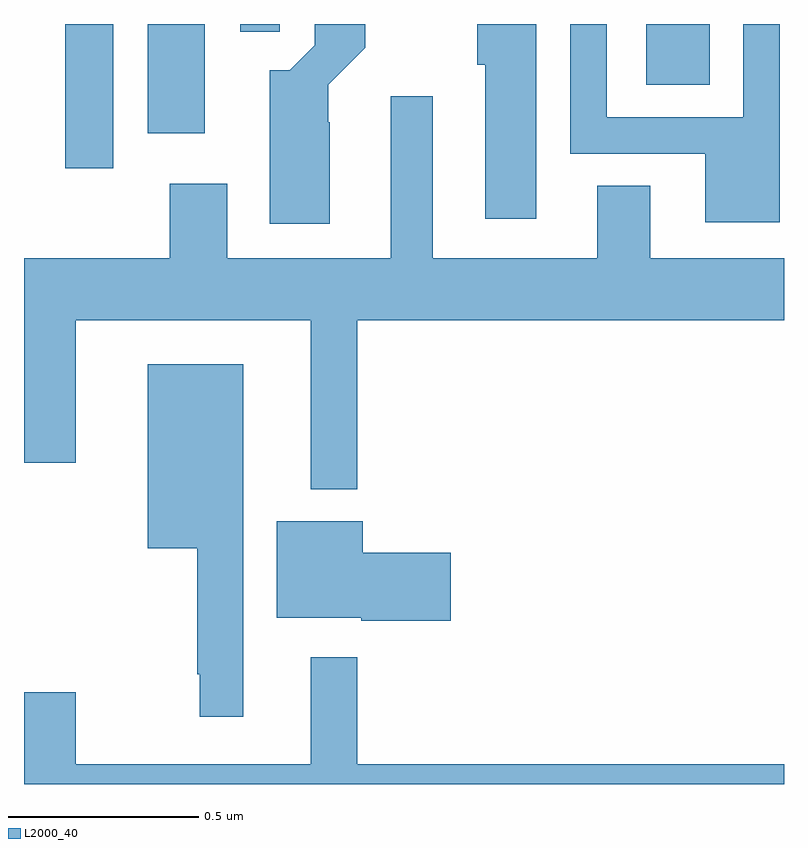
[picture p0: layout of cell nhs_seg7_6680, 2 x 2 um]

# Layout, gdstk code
import gdstk
lib = gdstk.Library(unit=1e-6, precision=1e-09)
def R(c, l, rs):  # rectangles x0, y0, x1, y1
    for r in rs: c.add(gdstk.rectangle(r[:2], r[2:], *l))
def P(c, l, *ps):  # polygons
    for p in ps: c.add(gdstk.Polygon(p, *l))
L2000_40 = (2000, 40)

nhs_seg7_6680 = lib.new_cell('nhs_seg7_6680')
R(nhs_seg7_6680, L2000_40, [(201.109,1063.62,201.235,1064), (201.326,1063.713,201.475,1064), (202.637,1063.84,202.804,1064), (201.569,1063.98,201.673,1064)])
P(nhs_seg7_6680, L2000_40, [(202.348,1064),(202.193,1064),(202.193,1063.893),(202.214,1063.893),(202.214,1063.488),(202.348,1063.488)],
  [(202.989,1064),(202.893,1064),(202.893,1063.755),(202.533,1063.755),(202.533,1064),(202.437,1064),(202.437,1063.659),(202.793,1063.659),(202.793,1063.478),(202.989,1063.478)],
  [(201.805,1063.742),(201.801,1063.742),(201.801,1063.84),(201.898,1063.937),(201.898,1064),(201.765,1064),(201.765,1063.944),(201.699,1063.878),(201.647,1063.878),(201.647,1063.475),(201.805,1063.475)],
  [(201.877,1063.22),(203,1063.22),(203,1063.384),(202.648,1063.384),(202.648,1063.574),(202.508,1063.574),(202.508,1063.384),(202.075,1063.384),(202.075,1063.81),(201.965,1063.81),(201.965,1063.384),(201.535,1063.384),(201.535,1063.579),(201.383,1063.579),(201.383,1063.384),(201,1063.384),(201,1062.846),(201.136,1062.846),(201.136,1063.22),(201.755,1063.22),(201.755,1062.776),(201.877,1062.776)],
  [(201.577,1063.105),(201.326,1063.105),(201.326,1062.62),(201.456,1062.62),(201.456,1062.289),(201.463,1062.289),(201.463,1062.177),(201.577,1062.177)],
  [(202.123,1062.608),(201.892,1062.608),(201.892,1062.691),(201.665,1062.691),(201.665,1062.437),(201.888,1062.437),(201.888,1062.43),(202.123,1062.43)],
  [(203,1062.052),(201.877,1062.052),(201.877,1062.334),(201.755,1062.334),(201.755,1062.052),(201.136,1062.052),(201.136,1062.241),(201,1062.241),(201,1062),(203,1062)])

lib.write_gds('nhs_seg7_6680.gds')
